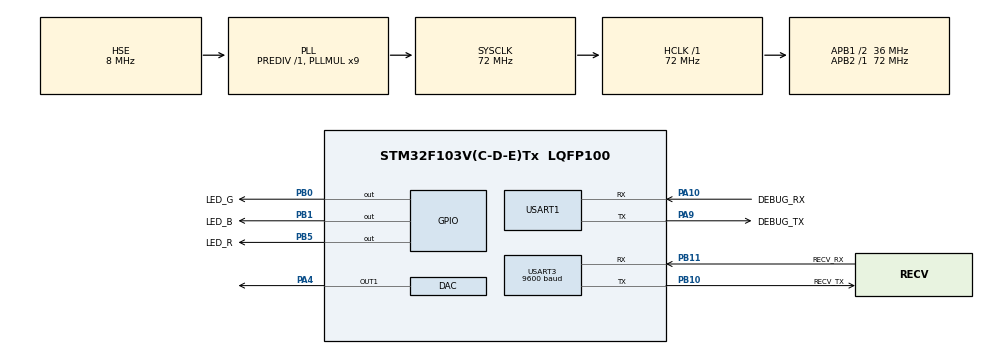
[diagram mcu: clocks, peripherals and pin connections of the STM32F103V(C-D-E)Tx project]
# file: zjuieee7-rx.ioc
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DAC.DAC_Trigger=DAC_TRIGGER_T7_TRGO
Dma.DAC_CH1.0.Direction=DMA_MEMORY_TO_PERIPH
Dma.DAC_CH1.0.Instance=DMA2_Channel3
Dma.DAC_CH1.0.MemDataAlignment=DMA_MDATAALIGN_HALFWORD
Dma.DAC_CH1.0.MemInc=DMA_MINC_ENABLE
Dma.DAC_CH1.0.Mode=DMA_CIRCULAR
Dma.DAC_CH1.0.PeriphDataAlignment=DMA_PDATAALIGN_HALFWORD
Dma.DAC_CH1.0.PeriphInc=DMA_PINC_DISABLE
Dma.DAC_CH1.0.Priority=DMA_PRIORITY_LOW
Dma.Request0=DAC_CH1
Mcu.Family=STM32F1
Mcu.Name=STM32F103V(C-D-E)Tx
Mcu.Package=LQFP100
NVIC.DMA2_Channel3_IRQn=true\:0\:0\:false\:false\:true\:false\:true
NVIC.PriorityGroup=NVIC_PRIORITYGROUP_4
NVIC.USART3_IRQn=true\:0\:0\:false\:false\:true\:true\:true
OSC_IN.Mode=HSE-External-Oscillator
OSC_IN.Signal=RCC_OSC_IN
OSC_OUT.Mode=HSE-External-Oscillator
OSC_OUT.Signal=RCC_OSC_OUT
PA10.GPIO_Label=DEBUG_RX
PA10.Mode=Asynchronous
PA10.Signal=USART1_RX
PA4.Signal=COMP_DAC1_group
PA9.GPIO_Label=DEBUG_TX
PA9.Mode=Asynchronous
PA9.Signal=USART1_TX
PB0.GPIO_Label=LED_G
PB0.GPIO_PuPd=GPIO_PULLUP
PB0.PinState=GPIO_PIN_SET
PB0.Signal=GPIO_Output
PB1.GPIO_Label=LED_B
PB1.GPIO_PuPd=GPIO_PULLUP
PB1.PinState=GPIO_PIN_SET
PB1.Signal=GPIO_Output
PB10.GPIO_Label=RECV_TX
PB10.Mode=Asynchronous
PB10.Signal=USART3_TX
PB11.GPIO_Label=RECV_RX
PB11.Mode=Asynchronous
PB11.Signal=USART3_RX
PB5.GPIO_Label=LED_R
PB5.GPIO_PuPd=GPIO_PULLUP
PB5.PinState=GPIO_PIN_SET
PB5.Signal=GPIO_Output
ProjectManager.HeapSize=0x200
ProjectManager.StackSize=0x400
ProjectManager.TargetToolchain=Makefile
RCC.AHBFreq_Value=72000000
RCC.APB1CLKDivider=RCC_HCLK_DIV2
RCC.APB1Freq_Value=36000000
RCC.APB1TimFreq_Value=72000000
RCC.APB2Freq_Value=72000000
RCC.APB2TimFreq_Value=72000000
RCC.HCLKFreq_Value=72000000
RCC.PLLMUL=RCC_PLL_MUL9
RCC.PLLSourceVirtual=RCC_PLLSOURCE_HSE
RCC.SYSCLKFreq_VALUE=72000000
RCC.SYSCLKSource=RCC_SYSCLKSOURCE_PLLCLK
RCC.USBFreq_Value=72000000
SH.COMP_DAC1_group.0=DAC_OUT1,DAC_OUT1
TIM6.Prescaler=72-1
TIM7.Period=240-1
TIM7.TIM_MasterOutputTrigger=TIM_TRGO_UPDATE
USART1.VirtualMode=VM_ASYNC
USART3.BaudRate=9600
USART3.Mode=MODE_RX
USART3.VirtualMode=VM_ASYNC
VP_SYS_VS_ND.Mode=No_Debug
VP_TIM6_VS_ClockSourceINT.Mode=Enable_Timer
VP_TIM7_VS_ClockSourceINT.Mode=Enable_Timer
board=custom

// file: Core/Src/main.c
/* USER CODE BEGIN Header */
/**
  ******************************************************************************
  * @file           : main.c
  * @brief          : Main program body
  ******************************************************************************
  * @attention
  *
  * <h2><center>&copy; Copyright (c) 2021 STMicroelectronics.
  * All rights reserved.</center></h2>
  *
  * This software component is licensed by ST under BSD 3-Clause license,
  * the "License"; You may not use this file except in compliance with the
  * License. You may obtain a copy of the License at:
  *                        opensource.org/licenses/BSD-3-Clause
  *
  ******************************************************************************
  */
/* USER CODE END Header */
#include "main.h"
#include "dac.h"
#include "dma.h"
#include "tim.h"
#include "usart.h"
#include "gpio.h"

/* USER CODE BEGIN Includes */
#include "delay.h"
#include "led.h"
#include "tty.h"
#include "receiver.h"
#include "sin_lut.h"
#include "wavegen.h"
/* USER CODE END Includes */

void SystemClock_Config(void);

int main(void)
{

  /* MCU Configuration--------------------------------------------------------*/

  /* Reset of all peripherals, Initializes the Flash interface and the Systick. */
  HAL_Init();

  /* Configure the system clock */
  SystemClock_Config();

  /* Initialize all configured peripherals */
  MX_GPIO_Init();
  MX_DMA_Init();
  MX_DAC_Init();
  MX_TIM6_Init();
  MX_USART1_UART_Init();
  MX_USART3_UART_Init();
  MX_TIM7_Init();
  /* USER CODE BEGIN 2 */

  delay_init();
  receiver_init();
  wavegen_init();

  LED_SetColor(LED_G);
  /* USER CODE END 2 */

  /* Infinite loop */
  /* USER CODE BEGIN WHILE */
  result_t res;
  wavegen_freq_d();
  while (1)
  {
    res = receiver_data_process();
    if (res.is_valid)
    {
      wavegen_synthesize(res.data);
      wavegen_freq_d();
      wavegen_synthesize(res.data >> 4);
      wavegen_freq_d();
    }
    /* USER CODE END WHILE */

  }
}

void SystemClock_Config(void)
{
  RCC_OscInitTypeDef RCC_OscInitStruct = {0};
  RCC_ClkInitTypeDef RCC_ClkInitStruct = {0};

  /** Initializes the RCC Oscillators according to the specified parameters
  * in the RCC_OscInitTypeDef structure.
  */
  RCC_OscInitStruct.OscillatorType = RCC_OSCILLATORTYPE_HSE;
  RCC_OscInitStruct.HSEState = RCC_HSE_ON;
  RCC_OscInitStruct.HSEPredivValue = RCC_HSE_PREDIV_DIV1;
  RCC_OscInitStruct.HSIState = RCC_HSI_ON;
  RCC_OscInitStruct.PLL.PLLState = RCC_PLL_ON;
  RCC_OscInitStruct.PLL.PLLSource = RCC_PLLSOURCE_HSE;
  RCC_OscInitStruct.PLL.PLLMUL = RCC_PLL_MUL9;
  if (HAL_RCC_OscConfig(&RCC_OscInitStruct) != HAL_OK)
  {
    Error_Handler();
  }
  /** Initializes the CPU, AHB and APB buses clocks
  */
  RCC_ClkInitStruct.ClockType = RCC_CLOCKTYPE_HCLK|RCC_CLOCKTYPE_SYSCLK
                              |RCC_CLOCKTYPE_PCLK1|RCC_CLOCKTYPE_PCLK2;
  RCC_ClkInitStruct.SYSCLKSource = RCC_SYSCLKSOURCE_PLLCLK;
  RCC_ClkInitStruct.AHBCLKDivider = RCC_SYSCLK_DIV1;
  RCC_ClkInitStruct.APB1CLKDivider = RCC_HCLK_DIV2;
  RCC_ClkInitStruct.APB2CLKDivider = RCC_HCLK_DIV1;

  if (HAL_RCC_ClockConfig(&RCC_ClkInitStruct, FLASH_LATENCY_2) != HAL_OK)
  {
    Error_Handler();
  }
}

void Error_Handler(void)
{
  /* USER CODE BEGIN Error_Handler_Debug */
  /* User can add his own implementation to report the HAL error return state */
  __disable_irq();
  LED_SetColor(LED_R);
  while (1)
  {
  }
  /* USER CODE END Error_Handler_Debug */
}

/************************ (C) COPYRIGHT STMicroelectronics *****END OF FILE****/
